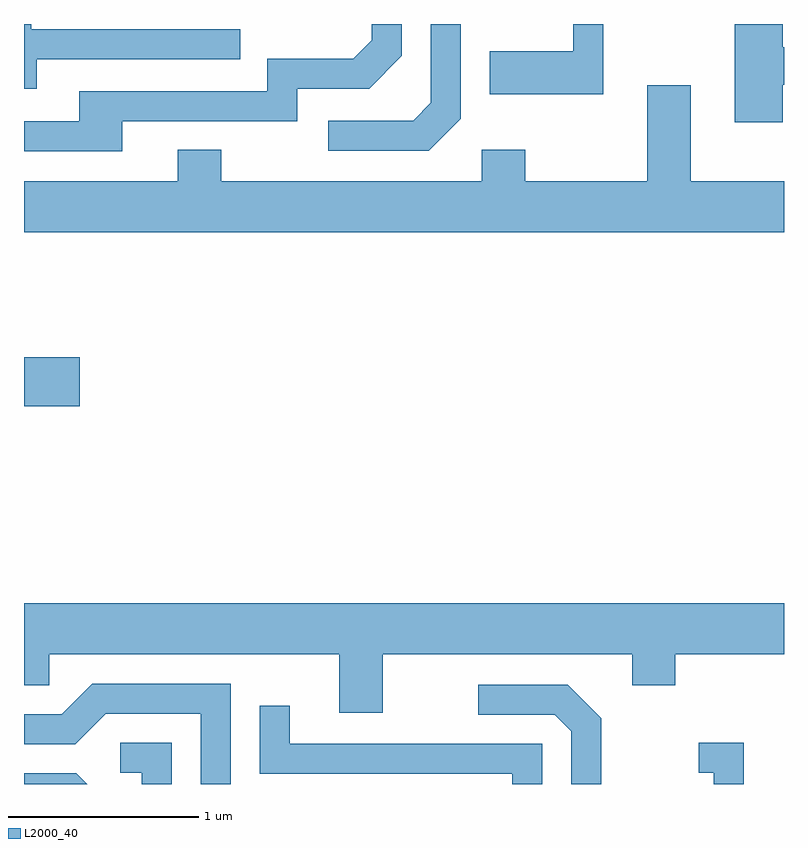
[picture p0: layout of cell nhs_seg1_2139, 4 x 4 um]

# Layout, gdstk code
import gdstk
lib = gdstk.Library(unit=1e-6, precision=1e-09)
def R(c, l, rs):  # rectangles x0, y0, x1, y1
    for r in rs: c.add(gdstk.rectangle(r[:2], r[2:], *l))
def P(c, l, *ps):  # polygons
    for p in ps: c.add(gdstk.Polygon(p, *l))
L2000_40 = (2000, 40)

nhs_seg1_2139 = lib.new_cell('nhs_seg1_2139')
R(nhs_seg1_2139, L2000_40, [(249.611,969.701,249.904,969.959)])
P(nhs_seg1_2139, L2000_40, [(253.604,971.391),(253.611,971.391),(253.611,971.589),(253.604,971.589),(253.604,971.712),(253.351,971.712),(253.351,971.196),(253.604,971.196)],
  [(252.659,971.712),(252.501,971.712),(252.501,971.569),(252.061,971.569),(252.061,971.341),(252.659,971.341)],
  [(250.129,971.201),(251.049,971.201),(251.049,971.371),(251.427,971.371),(251.599,971.544),(251.599,971.712),(251.441,971.712),(251.441,971.627),(251.344,971.529),(250.891,971.529),(250.891,971.359),(249.901,971.359),(249.901,971.199),(249.611,971.199),(249.611,971.041),(250.129,971.041)],
  [(249.679,971.526),(250.748,971.526),(250.748,971.684),(249.649,971.684),(249.649,971.712),(249.611,971.712),(249.611,971.371),(249.679,971.371)],
  [(251.909,971.214),(251.909,971.712),(251.751,971.712),(251.751,971.297),(251.659,971.204),(251.213,971.204),(251.213,971.046),(251.742,971.046)],
  [(253.611,970.884),(253.119,970.884),(253.119,971.389),(252.891,971.389),(252.891,970.884),(252.249,970.884),(252.249,971.049),(252.021,971.049),(252.021,970.884),(250.649,970.884),(250.649,971.049),(250.421,971.049),(250.421,970.884),(249.611,970.884),(249.611,970.616),(253.611,970.616)],
  [(251.499,968.396),(252.811,968.396),(252.811,968.231),(253.039,968.231),(253.039,968.396),(253.611,968.396),(253.611,968.664),(249.611,968.664),(249.611,968.231),(249.744,968.231),(249.744,968.396),(251.271,968.396),(251.271,968.086),(251.499,968.086)],
  [(250.699,968.239),(249.969,968.239),(249.809,968.079),(249.611,968.079),(249.611,967.921),(249.882,967.921),(250.042,968.081),(250.541,968.081),(250.541,967.712),(250.699,967.712)],
  [(252.649,968.057),(252.472,968.234),(252.003,968.234),(252.003,968.076),(252.404,968.076),(252.491,967.989),(252.491,967.712),(252.649,967.712)],
  [(252.339,967.924),(251.009,967.924),(251.009,968.123),(250.851,968.123),(250.851,967.766),(252.181,967.766),(252.181,967.712),(252.339,967.712)],
  [(253.399,967.929),(253.163,967.929),(253.163,967.771),(253.241,967.771),(253.241,967.712),(253.399,967.712)],
  [(250.389,967.929),(250.118,967.929),(250.118,967.771),(250.231,967.771),(250.231,967.712),(250.389,967.712)],
  [(249.887,967.769),(249.611,967.769),(249.611,967.712),(249.944,967.712)])

lib.write_gds('nhs_seg1_2139.gds')
